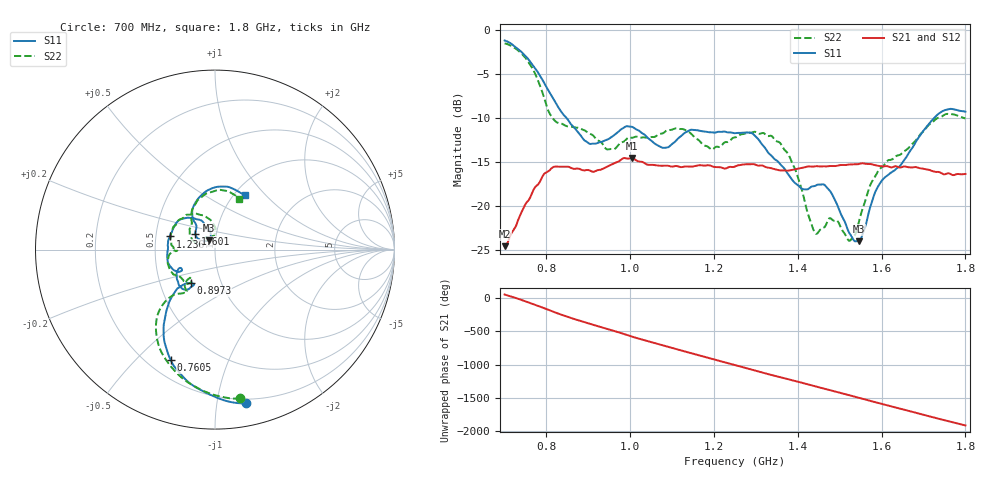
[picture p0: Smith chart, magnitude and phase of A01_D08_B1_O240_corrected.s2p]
! Created with skrf 1.9.0 (http://scikit-rf.org).
# Hz S RI R 50.0
!freq ReS11 ImS11 ReS21 ImS21 ReS12 ImS12 ReS22 ImS22
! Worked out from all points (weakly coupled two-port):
!   1601 points, 700 MHz to 1.8 GHz, reference 50 ohm
!   highest |S21| = -14.54 dB at 1.003 GHz (marker M1); lowest = -24.6 dB at 700 MHz (marker M2)
!   lowest |S11| = -24.0 dB at 1.546 GHz (marker M3), VSWR 1.13, Z = 46.3 + j4.82 ohm
!   |S11| at or under -10 dB: 848.1 MHz to 1.725 GHz (877 MHz wide, 68.2 % of centre)
!   |S22| runs from -24.0 to -1.5 dB; largest |S21 - S12| = 0.0038
!   S11 on the Smith chart (normalised r, x): 700 MHz: 0.17, -1.21; 760.5 MHz: 0.29, -0.64; 897.3 MHz: 0.72, -0.28; 1.236 GHz: 0.59, +0.09; 1.601 GHz: 0.79, +0.14; 1.8 GHz: 1.12, +0.77
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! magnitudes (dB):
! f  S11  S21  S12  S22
! 700 MHz  -1.2  -24.6  -24.3  -1.5
! 760.5 MHz  -3.6  -19.1  -18.9  -3.9
! 816.2 MHz  -7.8  -15.6  -15.7  -10.1
! 883.6 MHz  -12.1  -15.9  -15.8  -11.2
! 897.3 MHz  -12.7  -15.9  -16.0  -11.6
! 946.8 MHz  -12.4  -15.5  -15.5  -13.6
! 1.003 GHz  -11.0  -14.5  -14.7  -12.2
! 1.067 GHz  -13.1  -15.4  -15.4  -11.9
! 1.145 GHz  -11.3  -15.5  -15.5  -11.8
! 1.236 GHz  -11.6  -15.6  -15.7  -12.7
! 1.25 GHz  -11.7  -15.5  -15.4  -12.2
! 1.293 GHz  -11.8  -15.2  -15.3  -11.6
! 1.358 GHz  -15.2  -16.0  -15.9  -12.8
! 1.394 GHz  -17.4  -15.8  -15.8  -15.9
! 1.434 GHz  -17.8  -15.5  -15.5  -22.2
! 1.475 GHz  -18.2  -15.5  -15.5  -21.4
! 1.524 GHz  -23.1  -15.3  -15.3  -24.0
! 1.546 GHz  -24.0  -15.2  -15.2  -21.8
! 1.601 GHz  -17.1  -15.5  -15.5  -15.6
! 1.617 GHz  -16.4  -15.5  -15.5  -14.8
! 1.735 GHz  -9.6  -16.1  -16.2  -10.0
! 1.8 GHz  -9.3  -16.4  -16.4  -10.1
